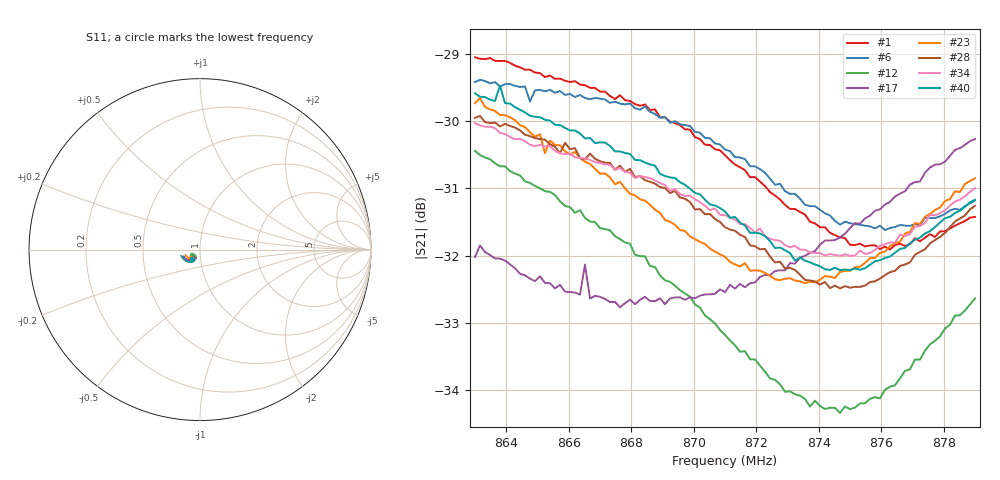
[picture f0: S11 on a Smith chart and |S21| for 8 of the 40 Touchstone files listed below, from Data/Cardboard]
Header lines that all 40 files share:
# HZ S RI R 50
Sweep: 863 MHz to 879 MHz
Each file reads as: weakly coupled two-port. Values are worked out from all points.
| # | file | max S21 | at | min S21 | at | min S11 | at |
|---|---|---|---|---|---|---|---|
| 1 | co7s6.s2p | -29.05 dB | 863 MHz | -31.9 dB | 876.28 MHz | -23.3 dB | 864.44 MHz |
| 2 | co7s7.s2p | -29.05 dB | 863 MHz | -32.0 dB | 876.92 MHz | -23.3 dB | 865.56 MHz |
| 3 | co7s10.s2p | -29.30 dB | 863 MHz | -31.7 dB | 875.96 MHz | -23.2 dB | 865.08 MHz |
| 4 | co7s11.s2p | -29.19 dB | 863.64 MHz | -31.6 dB | 876.12 MHz | -23.2 dB | 864.44 MHz |
| 5 | co7s12.s2p | -29.00 dB | 865.08 MHz | -31.6 dB | 875.96 MHz | -24.5 dB | 865.08 MHz |
| 6 | co7s13.s2p | -29.39 dB | 863.16 MHz | -31.6 dB | 876.12 MHz | -23.3 dB | 865.08 MHz |
| 7 | co8s0.s2p | -30.65 dB | 863 MHz | -34.0 dB | 874.52 MHz | -29.0 dB | 865.56 MHz |
| 8 | co8s1.s2p | -31.20 dB | 863 MHz | -33.5 dB | 874.52 MHz | -25.8 dB | 863.32 MHz |
| 9 | co8s3.s2p | -29.72 dB | 879 MHz | -31.7 dB | 872.6 MHz | -26.6 dB | 863 MHz |
| 10 | co8s4.s2p | -31.07 dB | 863 MHz | -33.7 dB | 873.08 MHz | -27.2 dB | 865.08 MHz |
| 11 | co8s5.s2p | -30.43 dB | 879 MHz | -32.6 dB | 872.92 MHz | -25.5 dB | 865.24 MHz |
| 12 | co8s6.s2p | -30.44 dB | 863 MHz | -34.3 dB | 874.68 MHz | -27.1 dB | 866.36 MHz |
| 13 | co8s8.s2p | -29.14 dB | 879 MHz | -30.1 dB | 873.08 MHz | -23.2 dB | 863 MHz |
| 14 | co8s9.s2p | -29.96 dB | 863 MHz | -32.2 dB | 874.68 MHz | -26.3 dB | 864.12 MHz |
| 15 | co8s10.s2p | -31.47 dB | 879 MHz | -34.2 dB | 872.92 MHz | -29.1 dB | 866.04 MHz |
| 16 | co9s0.s2p | -31.27 dB | 863 MHz | -33.1 dB | 872.6 MHz | -21.7 dB | 867.8 MHz |
| 17 | co9s2.s2p | -30.27 dB | 879 MHz | -32.8 dB | 867.64 MHz | -25.2 dB | 866.52 MHz |
| 18 | co9s3.s2p | -30.80 dB | 863 MHz | -32.9 dB | 873.08 MHz | -23.5 dB | 867.8 MHz |
| 19 | co9s6.s2p | -31.12 dB | 863.16 MHz | -32.7 dB | 871.8 MHz | -24.8 dB | 866.2 MHz |
| 20 | co9s7.s2p | -30.80 dB | 863 MHz | -32.5 dB | 872.6 MHz | -24.1 dB | 866.04 MHz |
| 21 | co9s8.s2p | -30.87 dB | 863 MHz | -32.7 dB | 872.76 MHz | -24.0 dB | 866.04 MHz |
| 22 | co9s11.s2p | -32.30 dB | 863 MHz | -34.6 dB | 871.96 MHz | -27.6 dB | 865.4 MHz |
| 23 | co9s15.s2p | -29.66 dB | 863.16 MHz | -32.4 dB | 873.56 MHz | -23.8 dB | 866.04 MHz |
| 24 | co10s1.s2p | -29.26 dB | 863 MHz | -31.9 dB | 875.64 MHz | -23.4 dB | 865.08 MHz |
| 25 | co11s0.s2p | -29.73 dB | 863 MHz | -32.7 dB | 875 MHz | -23.5 dB | 865.4 MHz |
| 26 | co11s3.s2p | -29.31 dB | 863 MHz | -32.3 dB | 874.68 MHz | -23.4 dB | 865.24 MHz |
| 27 | co11s4.s2p | -29.16 dB | 863.16 MHz | -32.4 dB | 874.84 MHz | -23.6 dB | 866.04 MHz |
| 28 | co11s6.s2p | -29.93 dB | 863.16 MHz | -32.5 dB | 874.68 MHz | -23.6 dB | 865.24 MHz |
| 29 | co11s7.s2p | -29.04 dB | 863 MHz | -32.1 dB | 875.96 MHz | -23.2 dB | 865.24 MHz |
| 30 | co11s8.s2p | -29.21 dB | 863 MHz | -32.0 dB | 874.84 MHz | -23.0 dB | 864.44 MHz |
| 31 | co11s9.s2p | -29.49 dB | 863 MHz | -32.0 dB | 875.64 MHz | -23.2 dB | 865.24 MHz |
| 32 | co11s10.s2p | -29.42 dB | 863 MHz | -31.9 dB | 874.84 MHz | -23.0 dB | 865.24 MHz |
| 33 | co11s11.s2p | -29.43 dB | 863.32 MHz | -31.8 dB | 875.16 MHz | -22.9 dB | 865.56 MHz |
| 34 | co12s0.s2p | -30.03 dB | 863 MHz | -32.0 dB | 875 MHz | -23.5 dB | 865.24 MHz |
| 35 | co12s1.s2p | -29.63 dB | 863 MHz | -32.2 dB | 874.68 MHz | -23.3 dB | 866.04 MHz |
| 36 | co12s2.s2p | -30.07 dB | 863 MHz | -32.2 dB | 874.68 MHz | -23.4 dB | 865.56 MHz |
| 37 | co12s3.s2p | -30.25 dB | 863.32 MHz | -31.8 dB | 875 MHz | -23.4 dB | 863.96 MHz |
| 38 | co12s4.s2p | -29.67 dB | 866.2 MHz | -32.2 dB | 875.48 MHz | -23.2 dB | 864.44 MHz |
| 39 | co12s6.s2p | -29.92 dB | 863 MHz | -31.4 dB | 874.84 MHz | -23.4 dB | 865.4 MHz |
| 40 | co12s7.s2p | -29.48 dB | 863.8 MHz | -32.2 dB | 874.68 MHz | -23.2 dB | 863.8 MHz |
